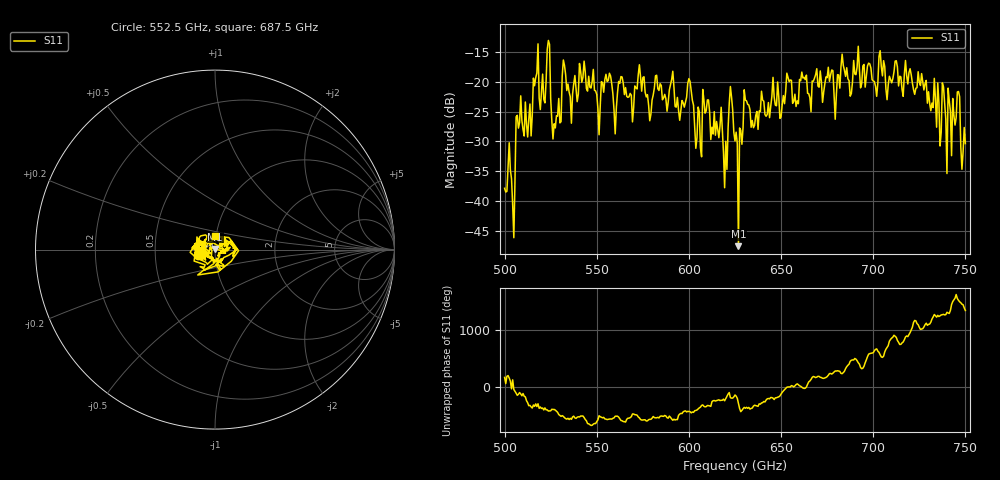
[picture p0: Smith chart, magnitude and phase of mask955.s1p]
!Created with skrf (http://scikit-rf.org).
# GHz S MA R 50.0
!freq magS11 angS11
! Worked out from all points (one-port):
!   401 points, 500 GHz to 750 GHz, reference 50 ohm
!   lowest |S11| = -47.6 dB at 626.9 GHz (marker M1), VSWR 1.01, Z = 50.1 + j0.408 ohm
!   |S11| at or under -10 dB: start of sweep to end of sweep
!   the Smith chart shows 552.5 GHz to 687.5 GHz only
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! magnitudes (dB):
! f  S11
! 500 GHz  -37.9
! 504.4 GHz  -40.6
! 507.5 GHz  -27.8
! 513.8 GHz  -23.7
! 516.9 GHz  -19.3
! 520.6 GHz  -18.7
! 523.8 GHz  -13.0
! 526.9 GHz  -27.0
! 531.2 GHz  -19.0
! 550.6 GHz  -24.5
! 556.2 GHz  -19.8
! 560 GHz  -28.7
! 562.5 GHz  -20.2
! 593.8 GHz  -22.6
! 600.6 GHz  -19.9
! 603.1 GHz  -27.6
! 608.8 GHz  -25.3
! 619.4 GHz  -37.8
! 622.5 GHz  -20.8
! 625 GHz  -29.9
! 626.9 GHz  -47.6
! 631.2 GHz  -23.2
! 656.2 GHz  -23.6
! 687.5 GHz  -22.4
! 718.8 GHz  -20.3
! 741.2 GHz  -23.2
! 745.6 GHz  -21.7
! 750 GHz  -30.4
